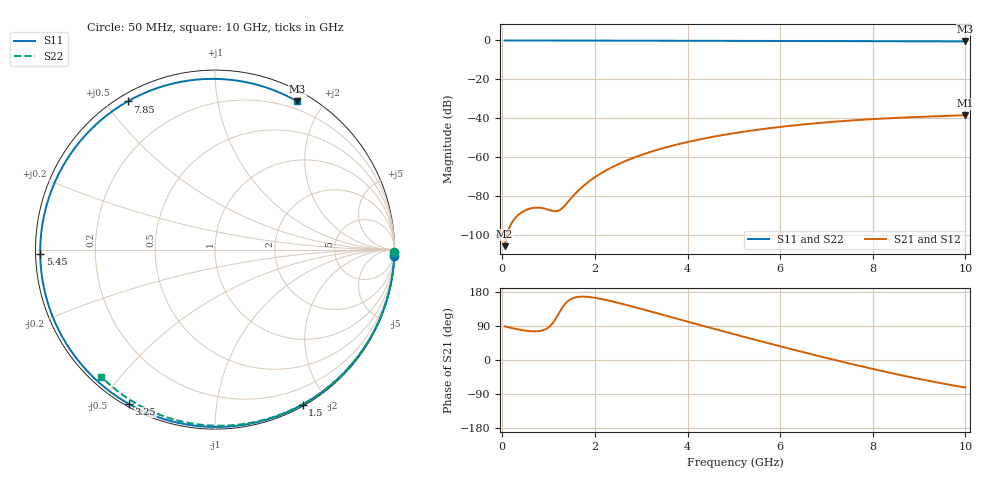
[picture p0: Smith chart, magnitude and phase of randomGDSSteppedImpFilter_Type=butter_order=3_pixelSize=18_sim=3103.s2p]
! freq	dB(S11)	phase(S11)	dB(S12)	phase(S12)
!  dB(S21)	phase(S21)	dB(S22)	phase(S22)
!S-par simulation data
#  GHz  S  DB  R 50
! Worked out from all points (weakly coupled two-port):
!   200 points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, 50 MHz to 10 GHz, reference 50 ohm
!   highest |S21| = -38.47 dB at 10 GHz (marker M1); lowest = -105.9 dB at 50 MHz (marker M2)
!   lowest |S11| = -0.5 dB at 10 GHz (marker M3), VSWR 34.99, Z = 5.55 + j84.8 ohm
!   |S11| at or under -10 dB: nowhere
!   |S22| runs from -0.4 to 0.0 dB; largest |S21 - S12| = 0
!   S11 on the Smith chart (normalised r, x): 50 MHz: 0, -54; 1.5 GHz: 0.02, -1.71; 3.25 GHz: 0.01, -0.59; 5.45 GHz: 0.01, -0.01; 7.85 GHz: 0.03, +0.57; 10 GHz: 0.11, +1.70
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0.05  -0.00 -2.1  -105.87 88.7  -105.87 88.7  -0.00 -0.8
0.35  -0.02 -14.7  -89.67 80.7  -89.67 80.7  -0.01 -5.3
0.7  -0.04 -29.1  -86.11 75.6  -86.11 75.6  -0.01 -10.6
1.1  -0.06 -45.1  -87.81 99.0  -87.81 99.0  -0.02 -16.6
1.5  -0.07 -60.5  -80.83 161.9  -80.83 161.9  -0.03 -22.6
1.55  -0.08 -62.4  -79.52 164.3  -79.52 164.3  -0.03 -23.3
1.75  -0.08 -69.8  -74.90 167.3  -74.90 167.3  -0.03 -26.3
2.05  -0.09 -80.5  -69.58 163.1  -69.58 163.1  -0.04 -30.7
2.4  -0.11 -92.4  -64.87 153.9  -64.87 153.9  -0.05 -35.8
2.8  -0.12 -105.4  -60.70 141.4  -60.70 141.4  -0.05 -41.5
3.25  -0.13 -119.2  -56.99 126.5  -56.99 126.5  -0.06 -47.9
3.4  -0.14 -123.6  -55.92 121.4  -55.92 121.4  -0.07 -50.0
4.2  -0.17 -146.1  -51.22 94.6  -51.22 94.6  -0.09 -61.0
5.05  -0.21 -168.3  -47.55 66.6  -47.55 66.6  -0.11 -72.4
5.45  -0.23 -178.5  -46.15 53.7  -46.15 53.7  -0.13 -77.6
6.05  -0.26 166.5  -44.36 34.6  -44.36 34.6  -0.15 -85.2
6.7  -0.30 150.1  -42.77 14.5  -42.77 14.5  -0.18 -93.3
7.25  -0.33 136.1  -41.67 -2.0  -41.67 -2.0  -0.21 -99.9
7.85  -0.37 120.5  -40.69 -19.4  -40.69 -19.4  -0.25 -107.1
8.35  -0.40 107.2  -40.03 -33.2  -40.03 -33.2  -0.29 -112.9
9.2  -0.45 83.7  -39.15 -54.8  -39.15 -54.8  -0.36 -122.7
10  -0.50 60.9  -38.47 -72.6  -38.47 -72.6  -0.45 -131.8
